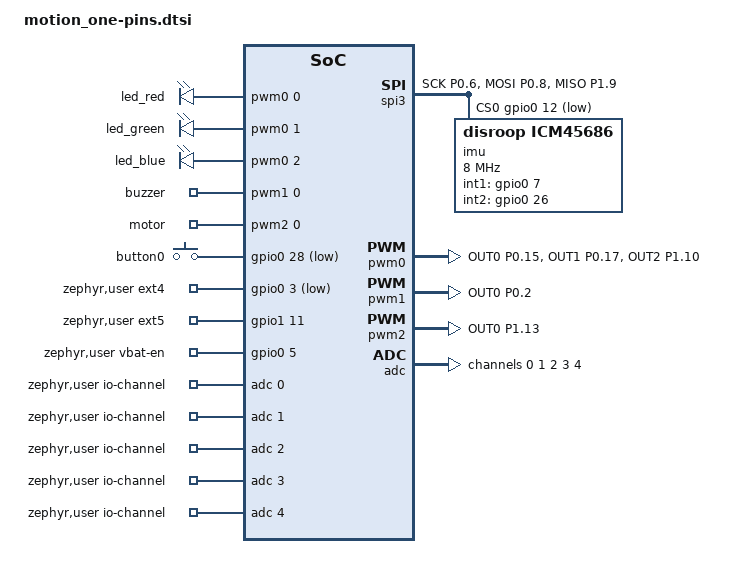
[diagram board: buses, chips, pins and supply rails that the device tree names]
/*
 * EINZIGE Datei mit Pinbelegung fuer Motion One V1.
 * QUELLE: hardware/motion-one/electronics/PINOUT_V1.json (revision r4,
 *         sha256 132ac85436ab8b2bb6b5bffa5dbf85fc9524f2b3eff0b1ed6bde9a1ddc3e8e28).
 * Jede Pinzeile traegt ein Tag "PINOUT:<signal>"; firmware/scripts/check_pinout.py
 * gleicht Tag, Port/Pin und Polaritaet gegen PINOUT_V1.json ab (make pincheck).
 * Nicht als GPIO genutzt: XL1/XL2 (32k-Quarz, lfclk), NRESET P0.18 (uicr gpio-as-nreset),
 * VBUS/USB D+/D- (USBD), SWDIO/SWCLK. Kein UART-Pin herausgefuehrt -> uart0 aus.
 */

&pinctrl {
	spi3_default: spi3_default {
		group1 {
			psels = <NRF_PSEL(SPIM_SCK, 0, 6)>,  /* PINOUT:IMU_SCK */
				<NRF_PSEL(SPIM_MOSI, 0, 8)>, /* PINOUT:IMU_MOSI */
				<NRF_PSEL(SPIM_MISO, 1, 9)>; /* PINOUT:IMU_MISO */
		};
	};
	spi3_sleep: spi3_sleep {
		group1 {
			psels = <NRF_PSEL(SPIM_SCK, 0, 6)>, <NRF_PSEL(SPIM_MOSI, 0, 8)>,
				<NRF_PSEL(SPIM_MISO, 1, 9)>;
			low-power-enable;
		};
	};
	/* LEDs Common-Anode an 3V3, aktiv low: nordic,invert -> Ruhepegel high (aus) */
	pwm0_default: pwm0_default {
		group1 {
			psels = <NRF_PSEL(PWM_OUT0, 0, 15)>, /* PINOUT:LED_R */
				<NRF_PSEL(PWM_OUT1, 0, 17)>, /* PINOUT:LED_G */
				<NRF_PSEL(PWM_OUT2, 1, 10)>; /* PINOUT:LED_B */
			nordic,invert;
		};
	};
	pwm0_sleep: pwm0_sleep {
		group1 {
			psels = <NRF_PSEL(PWM_OUT0, 0, 15)>, <NRF_PSEL(PWM_OUT1, 0, 17)>,
				<NRF_PSEL(PWM_OUT2, 1, 10)>;
			low-power-enable;
		};
	};
	pwm1_default: pwm1_default {
		group1 {
			psels = <NRF_PSEL(PWM_OUT0, 0, 2)>; /* PINOUT:BUZ_PWM */
		};
	};
	pwm1_sleep: pwm1_sleep {
		group1 {
			psels = <NRF_PSEL(PWM_OUT0, 0, 2)>;
			low-power-enable;
		};
	};
	/* F-12: Motor per PWM (eigene Instanz, da Summer die Periode von pwm1 aendert) */
	pwm2_default: pwm2_default {
		group1 {
			psels = <NRF_PSEL(PWM_OUT0, 1, 13)>; /* PINOUT:MOT_EN */
		};
	};
	pwm2_sleep: pwm2_sleep {
		group1 {
			psels = <NRF_PSEL(PWM_OUT0, 1, 13)>;
			low-power-enable;
		};
	};
};

&spi3 {
	compatible = "nordic,nrf-spim";
	status = "okay";
	pinctrl-0 = <&spi3_default>;
	pinctrl-1 = <&spi3_sleep>;
	pinctrl-names = "default", "sleep";
	cs-gpios = <&gpio0 12 GPIO_ACTIVE_LOW>; /* PINOUT:IMU_CS (Boot: sofort high, app/src/board_early.c) */

	imu: icm45686@0 {
		compatible = "disroop,icm45686";
		reg = <0>;
		spi-max-frequency = <8000000>; /* PCB-Hinweis: 8 MHz (ICM max. 24 MHz, QUELLE hal_tdk) */
		int1-gpios = <&gpio0 7 GPIO_ACTIVE_HIGH>; /* PINOUT:IMU_INT1 push-pull */
		int2-gpios = <&gpio0 26 GPIO_ACTIVE_HIGH>; /* PINOUT:IMU_INT2 push-pull, derzeit ungenutzt */
	};
};

&pwm0 {
	status = "okay";
	pinctrl-0 = <&pwm0_default>;
	pinctrl-1 = <&pwm0_sleep>;
	pinctrl-names = "default", "sleep";
};

&pwm1 {
	status = "okay";
	pinctrl-0 = <&pwm1_default>;
	pinctrl-1 = <&pwm1_sleep>;
	pinctrl-names = "default", "sleep";
};

&pwm2 {
	status = "okay";
	pinctrl-0 = <&pwm2_default>;
	pinctrl-1 = <&pwm2_sleep>;
	pinctrl-names = "default", "sleep";
};

&uart0 {
	status = "disabled";
};

&adc {
	status = "okay";
	#address-cells = <1>;
	#size-cells = <0>;

	channel@0 {
		reg = <0>;
		zephyr,gain = "ADC_GAIN_1_6";
		zephyr,reference = "ADC_REF_INTERNAL";
		/* Quelle 100k||100k = 50 kOhm -> 40 us (Nordic-Tabelle: 40 us bis 800 kOhm) */
		zephyr,acquisition-time = <ADC_ACQ_TIME(ADC_ACQ_TIME_MICROSECONDS, 40)>;
		zephyr,input-positive = <NRF_SAADC_AIN2>; /* PINOUT:VBAT_ADC */
		zephyr,resolution = <12>;
		zephyr,oversampling = <4>;
	};
	/* J5 EXT1 Stick X (r4), Quelle <= 2.5 kOhm + 100 Ohm -> 10 us */
	channel@1 {
		reg = <1>;
		zephyr,gain = "ADC_GAIN_1_6";
		zephyr,reference = "ADC_REF_INTERNAL";
		zephyr,acquisition-time = <ADC_ACQ_TIME(ADC_ACQ_TIME_MICROSECONDS, 10)>;
		zephyr,input-positive = <NRF_SAADC_AIN5>; /* PINOUT:EXT1 */
		zephyr,resolution = <12>;
	};
	/* J5 EXT2 Stick Y */
	channel@2 {
		reg = <2>;
		zephyr,gain = "ADC_GAIN_1_6";
		zephyr,reference = "ADC_REF_INTERNAL";
		zephyr,acquisition-time = <ADC_ACQ_TIME(ADC_ACQ_TIME_MICROSECONDS, 10)>;
		zephyr,input-positive = <NRF_SAADC_AIN6>; /* PINOUT:EXT2 */
		zephyr,resolution = <12>;
	};
	/* J5 EXT3 frei/analog */
	channel@3 {
		reg = <3>;
		zephyr,gain = "ADC_GAIN_1_6";
		zephyr,reference = "ADC_REF_INTERNAL";
		zephyr,acquisition-time = <ADC_ACQ_TIME(ADC_ACQ_TIME_MICROSECONDS, 10)>;
		zephyr,input-positive = <NRF_SAADC_AIN7>; /* PINOUT:EXT3 */
		zephyr,resolution = <12>;
	};
	/* J5 EXT4 Stick-Taste analog (AIN1), Tag-Pin siehe zephyr,user */
	channel@4 {
		reg = <4>;
		zephyr,gain = "ADC_GAIN_1_6";
		zephyr,reference = "ADC_REF_INTERNAL";
		zephyr,acquisition-time = <ADC_ACQ_TIME(ADC_ACQ_TIME_MICROSECONDS, 10)>;
		zephyr,input-positive = <NRF_SAADC_AIN1>; /* EXT4 AIN1 */
		zephyr,resolution = <12>;
	};
};

/ {
	pwmleds {
		compatible = "pwm-leds";
		led_red: led_red {
			pwms = <&pwm0 0 PWM_MSEC(1) PWM_POLARITY_INVERTED>; /* aktiv low */
		};
		led_green: led_green {
			pwms = <&pwm0 1 PWM_MSEC(1) PWM_POLARITY_INVERTED>; /* aktiv low */
		};
		led_blue: led_blue {
			pwms = <&pwm0 2 PWM_MSEC(1) PWM_POLARITY_INVERTED>; /* aktiv low */
		};
		buzzer: buzzer {
			pwms = <&pwm1 0 PWM_USEC(2273) PWM_POLARITY_NORMAL>; /* FET-Gate, high = an */
		};
		motor: motor {
			/* MOT_EN FET-Gate high = an (100k Pull-down); 20 kHz ANNAHME (unhoerbar) */
			pwms = <&pwm2 0 PWM_USEC(50) PWM_POLARITY_NORMAL>;
		};
	};

	buttons {
		compatible = "gpio-keys";
		button0: button_0 {
			gpios = <&gpio0 28 (GPIO_PULL_UP | GPIO_ACTIVE_LOW)>; /* PINOUT:BTN */
			zephyr,code = <INPUT_KEY_0>;
		};
	};

	zephyr,user {
		io-channels = <&adc 0>, <&adc 1>, <&adc 2>, <&adc 3>, <&adc 4>;
		/* r4 J5: EXT4 Stick-Taste aktiv low mit internem Pull-up; EXT5 Touch TTP233H aktiv high,
		 * Pull-down haelt den Eingang ohne Bedienplatine definiert low (kein Ereignisspam) */
		ext4-gpios = <&gpio0 3 (GPIO_PULL_UP | GPIO_ACTIVE_LOW)>; /* PINOUT:EXT4 */
		ext5-gpios = <&gpio1 11 (GPIO_PULL_DOWN | GPIO_ACTIVE_HIGH)>; /* PINOUT:EXT5 */
		vbat-en-gpios = <&gpio0 5 GPIO_ACTIVE_HIGH>; /* PINOUT:VBAT_EN */
		/* QUELLE PINOUT_V1 notes: VBAT_ADC = VBAT * 100k/(100k+100k) -> Faktor 2 */
		vbat-divider-num = <2>;
		vbat-divider-den = <1>;
	};

	aliases {
		led-red = &led_red;
		led-green = &led_green;
		led-blue = &led_blue;
		buzzer = &buzzer;
		sw0 = &button0;
		motor0 = &motor;
		imu0 = &imu;
	};
};
